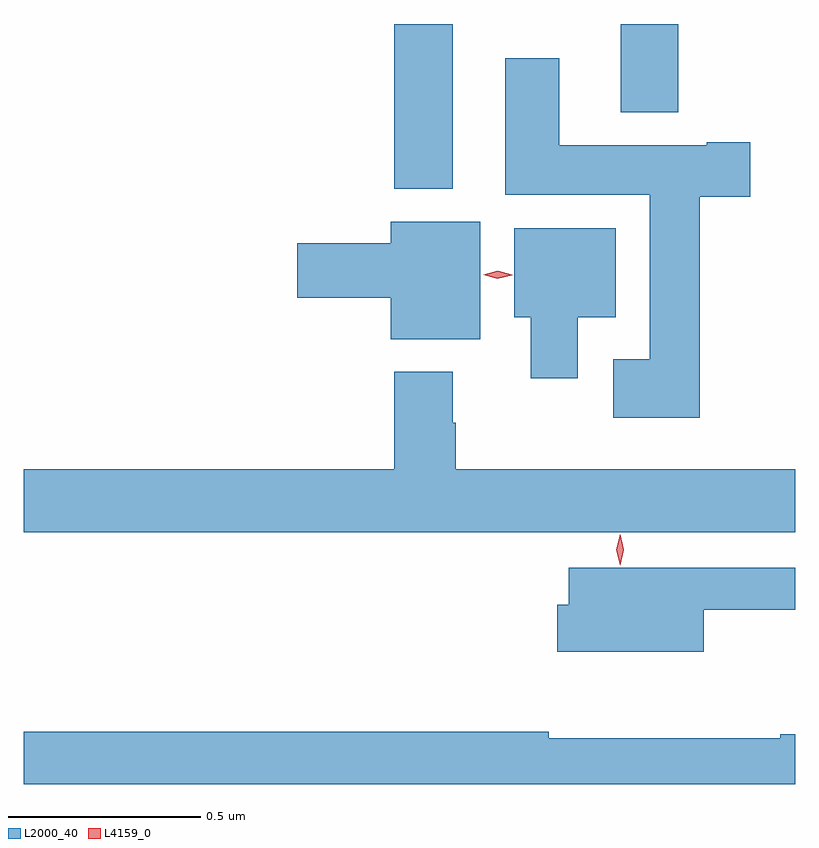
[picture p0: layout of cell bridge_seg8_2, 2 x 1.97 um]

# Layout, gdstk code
import gdstk
lib = gdstk.Library(unit=1e-6, precision=1e-09)
def R(c, l, rs):  # rectangles x0, y0, x1, y1
    for r in rs: c.add(gdstk.rectangle(r[:2], r[2:], *l))
def P(c, l, *ps):  # polygons
    for p in ps: c.add(gdstk.Polygon(p, *l))
L2000_40 = (2000, 40)
L4159_0 = (4159, 0)

bridge_seg8_2 = lib.new_cell('bridge_seg8_2')
R(bridge_seg8_2, L2000_40, [(958.127,1132.043,958.279,1132.47), (958.715,1132.241,958.863,1132.47)])
P(bridge_seg8_2, L2000_40, [(958.92,1132.022),(959.05,1132.022),(959.05,1132.164),(958.937,1132.164),(958.937,1132.156),(958.555,1132.156),(958.555,1132.381),(958.415,1132.381),(958.415,1132.028),(958.79,1132.028),(958.79,1131.601),(958.695,1131.601),(958.695,1131.449),(958.92,1131.449)],
  [(958.351,1131.958),(958.118,1131.958),(958.118,1131.902),(957.876,1131.902),(957.876,1131.76),(958.118,1131.76),(958.118,1131.653),(958.351,1131.653)],
  [(958.603,1131.71),(958.702,1131.71),(958.702,1131.94),(958.439,1131.94),(958.439,1131.71),(958.481,1131.71),(958.481,1131.552),(958.603,1131.552)],
  [(959.167,1131.316),(958.287,1131.316),(958.287,1131.437),(958.279,1131.437),(958.279,1131.568),(958.127,1131.568),(958.127,1131.316),(957.167,1131.316),(957.167,1131.152),(959.167,1131.152)],
  [(958.93,1130.952),(959.167,1130.952),(959.167,1131.06),(958.826,1131.06),(958.826,1131.061),(958.58,1131.061),(958.58,1130.965),(958.55,1130.965),(958.55,1130.843),(958.93,1130.843)],
  [(959.167,1130.629),(959.128,1130.629),(959.128,1130.619),(958.528,1130.619),(958.528,1130.636),(957.167,1130.636),(957.167,1130.5),(959.167,1130.5)])
P(bridge_seg8_2, L4159_0, [(958.713,1131.067),(958.713,1131.067),(958.703,1131.107),(958.713,1131.147),(958.713,1131.147),(958.713,1131.147),(958.723,1131.107),(958.713,1131.067)],
  [(958.395,1131.81),(958.358,1131.82),(958.358,1131.82),(958.358,1131.82),(958.396,1131.83),(958.433,1131.82),(958.433,1131.819),(958.433,1131.819)])

lib.write_gds('bridge_seg8_2.gds')
